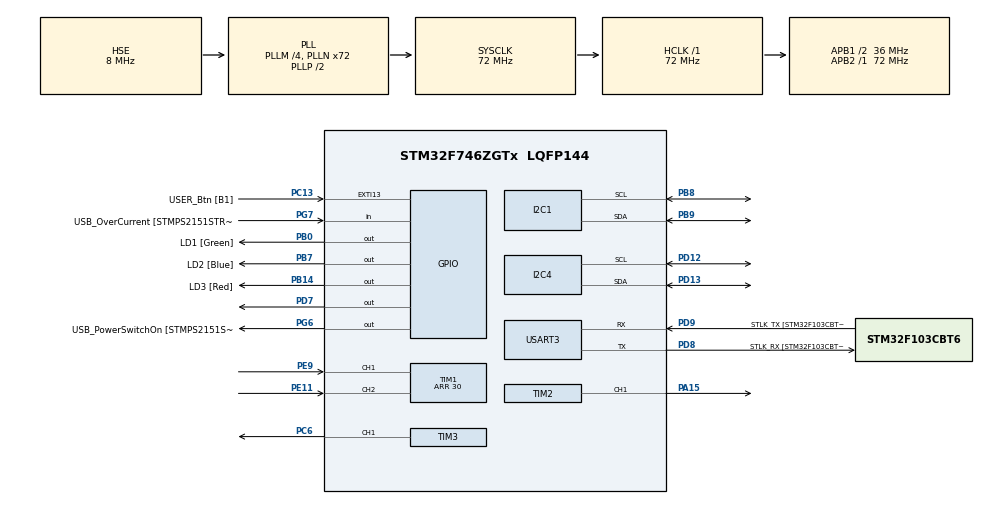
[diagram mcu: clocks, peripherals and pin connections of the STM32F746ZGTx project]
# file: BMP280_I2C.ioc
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I2C1.Timing=0x00808CD2
I2C4.Timing=0x00808CD2
Mcu.Family=STM32F7
Mcu.Name=STM32F746ZGTx
Mcu.Package=LQFP144
NVIC.PriorityGroup=NVIC_PRIORITYGROUP_4
PA1.GPIO_Label=RMII_REF_CLK [LAN8742A-CZ-TR_REFCLK0]
PA1.Signal=ETH_REF_CLK
PA10.GPIO_Label=USB_ID
PA10.Signal=USB_OTG_FS_ID
PA11.GPIO_Label=USB_DM
PA11.Signal=USB_OTG_FS_DM
PA12.GPIO_Label=USB_DP
PA12.Signal=USB_OTG_FS_DP
PA13.GPIO_Label=TMS
PA13.Mode=Serial_Wire
PA13.Signal=SYS_JTMS-SWDIO
PA14.GPIO_Label=TCK
PA14.Mode=Serial_Wire
PA14.Signal=SYS_JTCK-SWCLK
PA15.Signal=S_TIM2_CH1_ETR
PA2.GPIO_Label=RMII_MDIO [LAN8742A-CZ-TR_MDIO]
PA2.Signal=ETH_MDIO
PA7.GPIO_Label=RMII_CRS_DV [LAN8742A-CZ-TR_CRS_DV]
PA7.Signal=ETH_CRS_DV
PA8.GPIO_Label=USB_SOF [TP1]
PA8.Signal=USB_OTG_FS_SOF
PA9.GPIO_Label=USB_VBUS
PA9.Signal=USB_OTG_FS_VBUS
PB0.GPIO_Label=LD1 [Green]
PB0.Signal=GPIO_Output
PB13.GPIO_Label=RMII_TXD1 [LAN8742A-CZ-TR_TXD1]
PB13.Signal=ETH_TXD1
PB14.GPIO_Label=LD3 [Red]
PB14.Signal=GPIO_Output
PB3.GPIO_Label=SW0
PB3.Signal=SYS_JTDO-SWO
PB7.GPIO_Label=LD2 [Blue]
PB7.Signal=GPIO_Output
PB8.Mode=I2C
PB8.Signal=I2C1_SCL
PB9.Mode=I2C
PB9.Signal=I2C1_SDA
PC1.GPIO_Label=RMII_MDC [LAN8742A-CZ-TR_MDC]
PC1.Signal=ETH_MDC
PC13.GPIO_Label=USER_Btn [B1]
PC13.Signal=GPXTI13
PC14/OSC32_IN.Mode=LSE-External-Oscillator
PC14/OSC32_IN.Signal=RCC_OSC32_IN
PC15/OSC32_OUT.Mode=LSE-External-Oscillator
PC15/OSC32_OUT.Signal=RCC_OSC32_OUT
PC4.GPIO_Label=RMII_RXD0 [LAN8742A-CZ-TR_RXD0]
PC4.Signal=ETH_RXD0
PC5.GPIO_Label=RMII_RXD1 [LAN8742A-CZ-TR_RXD1]
PC5.Signal=ETH_RXD1
PC6.Signal=S_TIM3_CH1
PD12.Mode=I2C
PD12.Signal=I2C4_SCL
PD13.Mode=I2C
PD13.Signal=I2C4_SDA
PD7.Signal=GPIO_Output
PD8.GPIO_Label=STLK_RX [STM32F103CBT6_PA3]
PD8.Mode=Asynchronous
PD8.Signal=USART3_TX
PD9.GPIO_Label=STLK_TX [STM32F103CBT6_PA2]
PD9.Mode=Asynchronous
PD9.Signal=USART3_RX
PE11.Signal=S_TIM1_CH2
PE9.Signal=S_TIM1_CH1
PG11.GPIO_Label=RMII_TX_EN [LAN8742A-CZ-TR_TXEN]
PG11.Signal=ETH_TX_EN
PG13.GPIO_Label=RMII_TXD0 [LAN8742A-CZ-TR_TXD0]
PG13.Signal=ETH_TXD0
PG6.GPIO_Label=USB_PowerSwitchOn [STMPS2151STR_EN]
PG6.Signal=GPIO_Output
PG7.GPIO_Label=USB_OverCurrent [STMPS2151STR_FAULT]
PG7.Signal=GPIO_Input
PH0/OSC_IN.GPIO_Label=MCO [STM32F103CBT6_PA8]
PH0/OSC_IN.Mode=HSE-External-Clock-Source
PH0/OSC_IN.Signal=RCC_OSC_IN
PH1/OSC_OUT.Mode=HSE-External-Clock-Source
PH1/OSC_OUT.Signal=RCC_OSC_OUT
ProjectManager.HeapSize=0x200
ProjectManager.StackSize=0x400
ProjectManager.TargetToolchain=STM32CubeIDE
RCC.48MHZClocksFreq_Value=24000000
RCC.AHBFreq_Value=72000000
RCC.APB1CLKDivider=RCC_HCLK_DIV2
RCC.APB1Freq_Value=36000000
RCC.APB1TimFreq_Value=72000000
RCC.APB2Freq_Value=72000000
RCC.APB2TimFreq_Value=72000000
RCC.CortexFreq_Value=72000000
RCC.HCLKFreq_Value=72000000
RCC.HSE_VALUE=8000000
RCC.HSI_VALUE=16000000
RCC.PLLM=4
RCC.PLLMUL=RCC_PLL_MUL9
RCC.PLLN=72
RCC.PLLQ=3
RCC.PLLSourceVirtual=RCC_PLLSOURCE_HSE
RCC.PRESCALERUSB=RCC_USBCLKSOURCE_PLL_DIV1_5
RCC.SYSCLKFreq_VALUE=72000000
RCC.SYSCLKSource=RCC_SYSCLKSOURCE_PLLCLK
RCC.SYSCLKSourceVirtual=RCC_SYSCLKSOURCE_PLLCLK
RCC.USBFreq_Value=48000000
RCC.VCOOutputFreq_Value=144000000
SH.S_TIM1_CH1.0=TIM1_CH1,Encoder_Interface
SH.S_TIM1_CH2.0=TIM1_CH2,Encoder_Interface
SH.S_TIM2_CH1_ETR.0=TIM2_CH1,PWM Generation1 CH1
SH.S_TIM3_CH1.0=TIM3_CH1,PWM Generation1 CH1
TIM1.Period=30
TIM2.Channel-PWM\ Generation1\ CH1=TIM_CHANNEL_1
TIM2.Period=50
TIM3.Channel-PWM\ Generation1\ CH1=TIM_CHANNEL_1
TIM3.Period=50
USART3.VirtualMode-Asynchronous=VM_ASYNC
board=NUCLEO-F746ZG

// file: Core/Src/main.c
/* USER CODE BEGIN Header */
/**
  ******************************************************************************
  * @file           : main.c
  * @brief          : Main program body
  ******************************************************************************
  * @attention
  *
  * <h2><center>&copy; Copyright (c) 2021 STMicroelectronics.
  * All rights reserved.</center></h2>
  *
  * This software component is licensed by ST under BSD 3-Clause license,
  * the "License"; You may not use this file except in compliance with the
  * License. You may obtain a copy of the License at:
  *                        opensource.org/licenses/BSD-3-Clause
  *
  ******************************************************************************
  */
/* USER CODE END Header */
#include "main.h"

/* USER CODE BEGIN Includes */
#include "BMPXX80.h"
#include "i2c-lcd.h"
#include <stdint.h>
#include <stdio.h>
#include <string.h>

/* USER CODE END Includes */

/* USER CODE BEGIN PTD */
float Kp;
float Ki;
float Kd;
float dt;

typedef struct{
	float previous_error, previous_integral;
}pid_t;
/* USER CODE END PTD */

I2C_HandleTypeDef hi2c1;
I2C_HandleTypeDef hi2c4;

TIM_HandleTypeDef htim1;
TIM_HandleTypeDef htim2;
TIM_HandleTypeDef htim3;

UART_HandleTypeDef huart3;

/* USER CODE BEGIN PV */
float temp_zadana;
float temperature;
//float temperature;
int32_t pressure;
float wyjscie_PID;
float u1;
float impulsy = 0;
float error;
float calculate_discrete_pid(pid_t* pid, float temp_zadana, float temperature){
	float u=0, P, I, D, uchyb, integral, derivative;

	uchyb = temp_zadana - temperature;
	error = uchyb;
	//proportional part
	P = Kp * uchyb;

	//integral part
	integral = pid->previous_integral + (uchyb+pid->previous_error) ; //numerical integrator without anti-windup
	pid->previous_integral = integral;
	I = Ki*integral*(dt/2.0);

	//derivative part
	derivative = (uchyb - pid->previous_error)/dt; //numerical derivative without filter
	pid->previous_error = uchyb;
	D = Kd*derivative;

	//sum of all parts
	u = P  + I + D; //without saturation
	u1 = u;
	if(u>50)
	{
		u = 50;
	}
	else if(u<-50)
	{
		u = -50;
	}
	return u;
}

/* USER CODE END PV */

void SystemClock_Config(void);
static void MX_GPIO_Init(void);
static void MX_USART3_UART_Init(void);
static void MX_I2C1_Init(void);
static void MX_I2C4_Init(void);
static void MX_TIM1_Init(void);
static void MX_TIM2_Init(void);
static void MX_TIM3_Init(void);

int main(void)
{
  /* USER CODE BEGIN 1 */
  #define MAX_LENGTH 30
  char text[MAX_LENGTH];

  pid_t pid1 = {.previous_error=0, .previous_integral=0};
  Kp = 56.0;
  Ki = 1.4;
  Kd = 0;
  dt = 1;
  //uint16_t length;
  /* USER CODE END 1 */

  /* MCU Configuration--------------------------------------------------------*/

  /* Reset of all peripherals, Initializes the Flash interface and the Systick. */
  HAL_Init();

  /* Configure the system clock */
  SystemClock_Config();

  /* Initialize all configured peripherals */
  MX_GPIO_Init();
  MX_USART3_UART_Init();
  MX_I2C1_Init();
  MX_I2C4_Init();
  MX_TIM1_Init();
  MX_TIM2_Init();
  MX_TIM3_Init();
  /* USER CODE BEGIN 2 */
  BMP280_Init(&hi2c1, BMP280_TEMPERATURE_16BIT, BMP280_STANDARD, BMP280_FORCEDMODE);
  lcd_init ();
  lcd_send_string ("Czujnik BMP280");
  HAL_Delay(100);
  lcd_put_cur(1, 0);
  lcd_send_string("I2C1-BMP,I2C4-LCD");
  HAL_Delay(2000);
  HAL_TIM_Encoder_Start(&htim1, TIM_CHANNEL_ALL);
  HAL_TIM_PWM_Start(&htim2, TIM_CHANNEL_1);
  HAL_TIM_PWM_Start(&htim3, TIM_CHANNEL_1);
  uint8_t msg[12];

  /* USER CODE END 2 */

  /* Infinite loop */
  while (1)
  {

    /* USER CODE BEGIN 3 */
	  BMP280_ReadTemperatureAndPressure(&temperature, &pressure);
//	  sprintf((char*)text, "%.2f, ", temperature);
	  HAL_UART_Transmit(&huart3, (uint8_t*)text, strlen(text), 1000);

	  lcd_clear ();
	  lcd_put_cur(0, 0);
	  sprintf((char*)text, "Temp.  %.2f  C", temperature);
	  lcd_send_string(text);
	  lcd_put_cur(1, 0);
//	  sprintf((char*)text, "Cisn.  %ld Pa", pressure);
//	  lcd_send_string(text);

//	   tutaj odczyt z enkodera - temp_zadana
	  impulsy = __HAL_TIM_GET_COUNTER(&htim1);
	  temp_zadana = 20+(impulsy/30)*20 ;
	  sprintf((char*)msg, "\n\rEnkoder= %3i\n\r", impulsy);
	  HAL_UART_Transmit(&huart3, (uint8_t*)msg, strlen(msg), 1000);
	  HAL_Delay(250);

	  sprintf((char*)text, "T_zad. %.2f  C", temp_zadana);

	  lcd_send_string(text);
	  wyjscie_PID = calculate_discrete_pid(&pid1, temp_zadana, temperature);
	  if (wyjscie_PID>0)
	  {
		  __HAL_TIM_SET_COMPARE(&htim3, TIM_CHANNEL_1, (int)wyjscie_PID);
		  __HAL_TIM_SET_COMPARE(&htim2, TIM_CHANNEL_1, 0);
	  }
	  else
	  {
		  __HAL_TIM_SET_COMPARE(&htim3, TIM_CHANNEL_1, 0);
		  __HAL_TIM_SET_COMPARE(&htim2, TIM_CHANNEL_1, (-1)*(int)wyjscie_PID);
	  }
	  HAL_Delay(1000);
 }
  /* USER CODE END 3 */
}

void SystemClock_Config(void)
{
  RCC_OscInitTypeDef RCC_OscInitStruct = {0};
  RCC_ClkInitTypeDef RCC_ClkInitStruct = {0};

  /** Configure LSE Drive Capability
  */
  HAL_PWR_EnableBkUpAccess();

  /** Configure the main internal regulator output voltage
  */
  __HAL_RCC_PWR_CLK_ENABLE();
  __HAL_PWR_VOLTAGESCALING_CONFIG(PWR_REGULATOR_VOLTAGE_SCALE3);

  /** Initializes the RCC Oscillators according to the specified parameters
  * in the RCC_OscInitTypeDef structure.
  */
  RCC_OscInitStruct.OscillatorType = RCC_OSCILLATORTYPE_HSE;
  RCC_OscInitStruct.HSEState = RCC_HSE_BYPASS;
  RCC_OscInitStruct.PLL.PLLState = RCC_PLL_ON;
  RCC_OscInitStruct.PLL.PLLSource = RCC_PLLSOURCE_HSE;
  RCC_OscInitStruct.PLL.PLLM = 4;
  RCC_OscInitStruct.PLL.PLLN = 72;
  RCC_OscInitStruct.PLL.PLLP = RCC_PLLP_DIV2;
  RCC_OscInitStruct.PLL.PLLQ = 3;
  if (HAL_RCC_OscConfig(&RCC_OscInitStruct) != HAL_OK)
  {
    Error_Handler();
  }

  /** Initializes the CPU, AHB and APB buses clocks
  */
  RCC_ClkInitStruct.ClockType = RCC_CLOCKTYPE_HCLK|RCC_CLOCKTYPE_SYSCLK
                              |RCC_CLOCKTYPE_PCLK1|RCC_CLOCKTYPE_PCLK2;
  RCC_ClkInitStruct.SYSCLKSource = RCC_SYSCLKSOURCE_PLLCLK;
  RCC_ClkInitStruct.AHBCLKDivider = RCC_SYSCLK_DIV1;
  RCC_ClkInitStruct.APB1CLKDivider = RCC_HCLK_DIV2;
  RCC_ClkInitStruct.APB2CLKDivider = RCC_HCLK_DIV1;

  if (HAL_RCC_ClockConfig(&RCC_ClkInitStruct, FLASH_LATENCY_2) != HAL_OK)
  {
    Error_Handler();
  }
}

static void MX_I2C1_Init(void)
{

  hi2c1.Instance = I2C1;
  hi2c1.Init.Timing = 0x00808CD2;
  hi2c1.Init.OwnAddress1 = 0;
  hi2c1.Init.AddressingMode = I2C_ADDRESSINGMODE_7BIT;
  hi2c1.Init.DualAddressMode = I2C_DUALADDRESS_DISABLE;
  hi2c1.Init.OwnAddress2 = 0;
  hi2c1.Init.OwnAddress2Masks = I2C_OA2_NOMASK;
  hi2c1.Init.GeneralCallMode = I2C_GENERALCALL_DISABLE;
  hi2c1.Init.NoStretchMode = I2C_NOSTRETCH_DISABLE;
  if (HAL_I2C_Init(&hi2c1) != HAL_OK)
  {
    Error_Handler();
  }

  /** Configure Analogue filter
  */
  if (HAL_I2CEx_ConfigAnalogFilter(&hi2c1, I2C_ANALOGFILTER_ENABLE) != HAL_OK)
  {
    Error_Handler();
  }

  /** Configure Digital filter
  */
  if (HAL_I2CEx_ConfigDigitalFilter(&hi2c1, 0) != HAL_OK)
  {
    Error_Handler();
  }

}

static void MX_I2C4_Init(void)
{

  hi2c4.Instance = I2C4;
  hi2c4.Init.Timing = 0x00808CD2;
  hi2c4.Init.OwnAddress1 = 0;
  hi2c4.Init.AddressingMode = I2C_ADDRESSINGMODE_7BIT;
  hi2c4.Init.DualAddressMode = I2C_DUALADDRESS_DISABLE;
  hi2c4.Init.OwnAddress2 = 0;
  hi2c4.Init.OwnAddress2Masks = I2C_OA2_NOMASK;
  hi2c4.Init.GeneralCallMode = I2C_GENERALCALL_DISABLE;
  hi2c4.Init.NoStretchMode = I2C_NOSTRETCH_DISABLE;
  if (HAL_I2C_Init(&hi2c4) != HAL_OK)
  {
    Error_Handler();
  }

  /** Configure Analogue filter
  */
  if (HAL_I2CEx_ConfigAnalogFilter(&hi2c4, I2C_ANALOGFILTER_ENABLE) != HAL_OK)
  {
    Error_Handler();
  }

  /** Configure Digital filter
  */
  if (HAL_I2CEx_ConfigDigitalFilter(&hi2c4, 0) != HAL_OK)
  {
    Error_Handler();
  }

}

static void MX_TIM1_Init(void)
{

  TIM_Encoder_InitTypeDef sConfig = {0};
  TIM_MasterConfigTypeDef sMasterConfig = {0};

  htim1.Instance = TIM1;
  htim1.Init.Prescaler = 0;
  htim1.Init.CounterMode = TIM_COUNTERMODE_UP;
  htim1.Init.Period = 30;
  htim1.Init.ClockDivision = TIM_CLOCKDIVISION_DIV1;
  htim1.Init.RepetitionCounter = 0;
  htim1.Init.AutoReloadPreload = TIM_AUTORELOAD_PRELOAD_DISABLE;
  sConfig.EncoderMode = TIM_ENCODERMODE_TI1;
  sConfig.IC1Polarity = TIM_ICPOLARITY_RISING;
  sConfig.IC1Selection = TIM_ICSELECTION_DIRECTTI;
  sConfig.IC1Prescaler = TIM_ICPSC_DIV1;
  sConfig.IC1Filter = 0;
  sConfig.IC2Polarity = TIM_ICPOLARITY_RISING;
  sConfig.IC2Selection = TIM_ICSELECTION_DIRECTTI;
  sConfig.IC2Prescaler = TIM_ICPSC_DIV1;
  sConfig.IC2Filter = 0;
  if (HAL_TIM_Encoder_Init(&htim1, &sConfig) != HAL_OK)
  {
    Error_Handler();
  }
  sMasterConfig.MasterOutputTrigger = TIM_TRGO_RESET;
  sMasterConfig.MasterOutputTrigger2 = TIM_TRGO2_RESET;
  sMasterConfig.MasterSlaveMode = TIM_MASTERSLAVEMODE_DISABLE;
  if (HAL_TIMEx_MasterConfigSynchronization(&htim1, &sMasterConfig) != HAL_OK)
  {
    Error_Handler();
  }

}

static void MX_TIM2_Init(void)
{

  TIM_MasterConfigTypeDef sMasterConfig = {0};
  TIM_OC_InitTypeDef sConfigOC = {0};

  htim2.Instance = TIM2;
  htim2.Init.Prescaler = 0;
  htim2.Init.CounterMode = TIM_COUNTERMODE_UP;
  htim2.Init.Period = 50;
  htim2.Init.ClockDivision = TIM_CLOCKDIVISION_DIV1;
  htim2.Init.AutoReloadPreload = TIM_AUTORELOAD_PRELOAD_DISABLE;
  if (HAL_TIM_PWM_Init(&htim2) != HAL_OK)
  {
    Error_Handler();
  }
  sMasterConfig.MasterOutputTrigger = TIM_TRGO_RESET;
  sMasterConfig.MasterSlaveMode = TIM_MASTERSLAVEMODE_DISABLE;
  if (HAL_TIMEx_MasterConfigSynchronization(&htim2, &sMasterConfig) != HAL_OK)
  {
    Error_Handler();
  }
  sConfigOC.OCMode = TIM_OCMODE_PWM1;
  sConfigOC.Pulse = 0;
  sConfigOC.OCPolarity = TIM_OCPOLARITY_HIGH;
  sConfigOC.OCFastMode = TIM_OCFAST_DISABLE;
  if (HAL_TIM_PWM_ConfigChannel(&htim2, &sConfigOC, TIM_CHANNEL_1) != HAL_OK)
  {
    Error_Handler();
  }
  HAL_TIM_MspPostInit(&htim2);

}

static void MX_TIM3_Init(void)
{

  TIM_MasterConfigTypeDef sMasterConfig = {0};
  TIM_OC_InitTypeDef sConfigOC = {0};

  htim3.Instance = TIM3;
  htim3.Init.Prescaler = 0;
  htim3.Init.CounterMode = TIM_COUNTERMODE_UP;
  htim3.Init.Period = 50;
  htim3.Init.ClockDivision = TIM_CLOCKDIVISION_DIV1;
  htim3.Init.AutoReloadPreload = TIM_AUTORELOAD_PRELOAD_DISABLE;
  if (HAL_TIM_PWM_Init(&htim3) != HAL_OK)
  {
    Error_Handler();
  }
  sMasterConfig.MasterOutputTrigger = TIM_TRGO_RESET;
  sMasterConfig.MasterSlaveMode = TIM_MASTERSLAVEMODE_DISABLE;
  if (HAL_TIMEx_MasterConfigSynchronization(&htim3, &sMasterConfig) != HAL_OK)
  {
    Error_Handler();
  }
  sConfigOC.OCMode = TIM_OCMODE_PWM1;
  sConfigOC.Pulse = 0;
  sConfigOC.OCPolarity = TIM_OCPOLARITY_HIGH;
  sConfigOC.OCFastMode = TIM_OCFAST_DISABLE;
  if (HAL_TIM_PWM_ConfigChannel(&htim3, &sConfigOC, TIM_CHANNEL_1) != HAL_OK)
  {
    Error_Handler();
  }
  HAL_TIM_MspPostInit(&htim3);

}

static void MX_USART3_UART_Init(void)
{

  huart3.Instance = USART3;
  huart3.Init.BaudRate = 115200;
  huart3.Init.WordLength = UART_WORDLENGTH_8B;
  huart3.Init.StopBits = UART_STOPBITS_1;
  huart3.Init.Parity = UART_PARITY_NONE;
  huart3.Init.Mode = UART_MODE_TX_RX;
  huart3.Init.HwFlowCtl = UART_HWCONTROL_NONE;
  huart3.Init.OverSampling = UART_OVERSAMPLING_16;
  huart3.Init.OneBitSampling = UART_ONE_BIT_SAMPLE_DISABLE;
  huart3.AdvancedInit.AdvFeatureInit = UART_ADVFEATURE_NO_INIT;
  if (HAL_UART_Init(&huart3) != HAL_OK)
  {
    Error_Handler();
  }

}

static void MX_GPIO_Init(void)
{
  GPIO_InitTypeDef GPIO_InitStruct = {0};

  /* GPIO Ports Clock Enable */
  __HAL_RCC_GPIOC_CLK_ENABLE();
  __HAL_RCC_GPIOH_CLK_ENABLE();
  __HAL_RCC_GPIOA_CLK_ENABLE();
  __HAL_RCC_GPIOB_CLK_ENABLE();
  __HAL_RCC_GPIOE_CLK_ENABLE();
  __HAL_RCC_GPIOD_CLK_ENABLE();
  __HAL_RCC_GPIOG_CLK_ENABLE();

  /*Configure GPIO pin Output Level */
  HAL_GPIO_WritePin(GPIOB, LD1_Pin|LD3_Pin|LD2_Pin, GPIO_PIN_RESET);

  /*Configure GPIO pin Output Level */
  HAL_GPIO_WritePin(USB_PowerSwitchOn_GPIO_Port, USB_PowerSwitchOn_Pin, GPIO_PIN_RESET);

  /*Configure GPIO pin Output Level */
  HAL_GPIO_WritePin(GPIOD, GPIO_PIN_7, GPIO_PIN_RESET);

  /*Configure GPIO pin : USER_Btn_Pin */
  GPIO_InitStruct.Pin = USER_Btn_Pin;
  GPIO_InitStruct.Mode = GPIO_MODE_IT_RISING;
  GPIO_InitStruct.Pull = GPIO_NOPULL;
  HAL_GPIO_Init(USER_Btn_GPIO_Port, &GPIO_InitStruct);

  /*Configure GPIO pins : RMII_MDC_Pin RMII_RXD0_Pin RMII_RXD1_Pin */
  GPIO_InitStruct.Pin = RMII_MDC_Pin|RMII_RXD0_Pin|RMII_RXD1_Pin;
  GPIO_InitStruct.Mode = GPIO_MODE_AF_PP;
  GPIO_InitStruct.Pull = GPIO_NOPULL;
  GPIO_InitStruct.Speed = GPIO_SPEED_FREQ_VERY_HIGH;
  GPIO_InitStruct.Alternate = GPIO_AF11_ETH;
  HAL_GPIO_Init(GPIOC, &GPIO_InitStruct);

  /*Configure GPIO pins : RMII_REF_CLK_Pin RMII_MDIO_Pin RMII_CRS_DV_Pin */
  GPIO_InitStruct.Pin = RMII_REF_CLK_Pin|RMII_MDIO_Pin|RMII_CRS_DV_Pin;
  GPIO_InitStruct.Mode = GPIO_MODE_AF_PP;
  GPIO_InitStruct.Pull = GPIO_NOPULL;
  GPIO_InitStruct.Speed = GPIO_SPEED_FREQ_VERY_HIGH;
  GPIO_InitStruct.Alternate = GPIO_AF11_ETH;
  HAL_GPIO_Init(GPIOA, &GPIO_InitStruct);

  /*Configure GPIO pins : LD1_Pin LD3_Pin LD2_Pin */
  GPIO_InitStruct.Pin = LD1_Pin|LD3_Pin|LD2_Pin;
  GPIO_InitStruct.Mode = GPIO_MODE_OUTPUT_PP;
  GPIO_InitStruct.Pull = GPIO_NOPULL;
  GPIO_InitStruct.Speed = GPIO_SPEED_FREQ_LOW;
  HAL_GPIO_Init(GPIOB, &GPIO_InitStruct);

  /*Configure GPIO pin : RMII_TXD1_Pin */
  GPIO_InitStruct.Pin = RMII_TXD1_Pin;
  GPIO_InitStruct.Mode = GPIO_MODE_AF_PP;
  GPIO_InitStruct.Pull = GPIO_NOPULL;
  GPIO_InitStruct.Speed = GPIO_SPEED_FREQ_VERY_HIGH;
  GPIO_InitStruct.Alternate = GPIO_AF11_ETH;
  HAL_GPIO_Init(RMII_TXD1_GPIO_Port, &GPIO_InitStruct);

  /*Configure GPIO pin : USB_PowerSwitchOn_Pin */
  GPIO_InitStruct.Pin = USB_PowerSwitchOn_Pin;
  GPIO_InitStruct.Mode = GPIO_MODE_OUTPUT_PP;
  GPIO_InitStruct.Pull = GPIO_NOPULL;
  GPIO_InitStruct.Speed = GPIO_SPEED_FREQ_LOW;
  HAL_GPIO_Init(USB_PowerSwitchOn_GPIO_Port, &GPIO_InitStruct);

  /*Configure GPIO pin : USB_OverCurrent_Pin */
  GPIO_InitStruct.Pin = USB_OverCurrent_Pin;
  GPIO_InitStruct.Mode = GPIO_MODE_INPUT;
  GPIO_InitStruct.Pull = GPIO_NOPULL;
  HAL_GPIO_Init(USB_OverCurrent_GPIO_Port, &GPIO_InitStruct);

  /*Configure GPIO pins : USB_SOF_Pin USB_ID_Pin USB_DM_Pin USB_DP_Pin */
  GPIO_InitStruct.Pin = USB_SOF_Pin|USB_ID_Pin|USB_DM_Pin|USB_DP_Pin;
  GPIO_InitStruct.Mode = GPIO_MODE_AF_PP;
  GPIO_InitStruct.Pull = GPIO_NOPULL;
  GPIO_InitStruct.Speed = GPIO_SPEED_FREQ_VERY_HIGH;
  GPIO_InitStruct.Alternate = GPIO_AF10_OTG_FS;
  HAL_GPIO_Init(GPIOA, &GPIO_InitStruct);

  /*Configure GPIO pin : USB_VBUS_Pin */
  GPIO_InitStruct.Pin = USB_VBUS_Pin;
  GPIO_InitStruct.Mode = GPIO_MODE_INPUT;
  GPIO_InitStruct.Pull = GPIO_NOPULL;
  HAL_GPIO_Init(USB_VBUS_GPIO_Port, &GPIO_InitStruct);

  /*Configure GPIO pin : PD7 */
  GPIO_InitStruct.Pin = GPIO_PIN_7;
  GPIO_InitStruct.Mode = GPIO_MODE_OUTPUT_PP;
  GPIO_InitStruct.Pull = GPIO_NOPULL;
  GPIO_InitStruct.Speed = GPIO_SPEED_FREQ_LOW;
  HAL_GPIO_Init(GPIOD, &GPIO_InitStruct);

  /*Configure GPIO pins : RMII_TX_EN_Pin RMII_TXD0_Pin */
  GPIO_InitStruct.Pin = RMII_TX_EN_Pin|RMII_TXD0_Pin;
  GPIO_InitStruct.Mode = GPIO_MODE_AF_PP;
  GPIO_InitStruct.Pull = GPIO_NOPULL;
  GPIO_InitStruct.Speed = GPIO_SPEED_FREQ_VERY_HIGH;
  GPIO_InitStruct.Alternate = GPIO_AF11_ETH;
  HAL_GPIO_Init(GPIOG, &GPIO_InitStruct);

}

void Error_Handler(void)
{
  __disable_irq();
  while (1)
  {
  }
}
